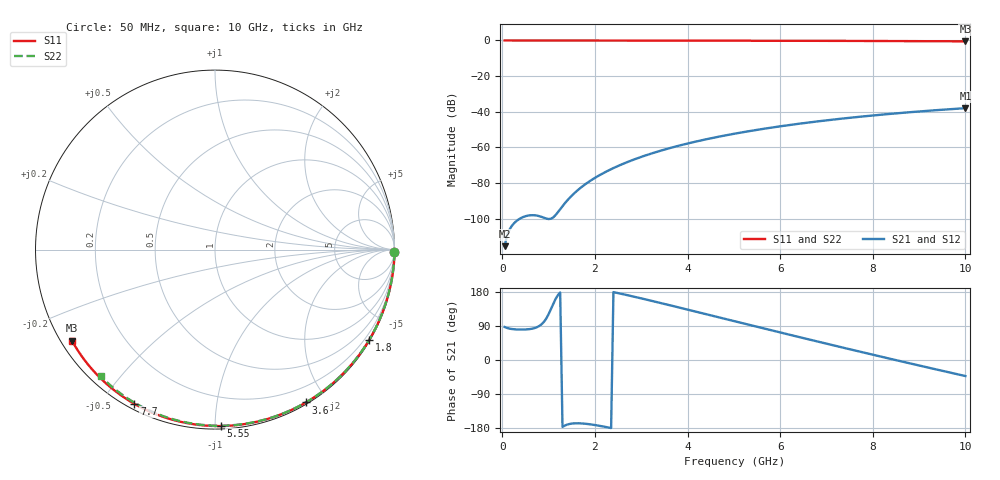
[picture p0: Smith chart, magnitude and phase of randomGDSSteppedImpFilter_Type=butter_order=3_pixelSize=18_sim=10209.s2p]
! freq	dB(S11)	phase(S11)	dB(S12)	phase(S12)
!  dB(S21)	phase(S21)	dB(S22)	phase(S22)
!S-par simulation data
#  GHz  S  DB  R 50
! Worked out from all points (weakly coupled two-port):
!   200 points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, 50 MHz to 10 GHz, reference 50 ohm
!   highest |S21| = -37.96 dB at 10 GHz (marker M1); lowest = -115.3 dB at 50 MHz (marker M2)
!   lowest |S11| = -0.5 dB at 10 GHz (marker M3), VSWR 35.27, Z = 1.54 - j14.5 ohm
!   |S11| at or under -10 dB: nowhere
!   |S22| runs from -0.4 to 0.0 dB; largest |S21 - S12| = 0
!   S11 on the Smith chart (normalised r, x): 50 MHz: open; 1.8 GHz: 0.03, -3.68; 3.6 GHz: 0.02, -1.76; 5.55 GHz: 0.02, -1.03; 7.7 GHz: 0.02, -0.61; 10 GHz: 0.03, -0.29
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0.05  -0.00 -0.9  -115.31 87.1  -115.31 87.1  -0.00 -0.8
0.45  -0.01 -7.7  -98.98 80.3  -98.98 80.3  -0.01 -6.9
0.9  -0.02 -15.4  -99.39 100.8  -99.39 100.8  -0.02 -13.6
1.3  -0.03 -22.1  -92.90 -176.6  -92.90 -176.6  -0.02 -19.6
1.75  -0.04 -29.6  -81.40 -167.7  -81.40 -167.7  -0.03 -26.3
1.8  -0.04 -30.4  -80.44 -168.3  -80.44 -168.3  -0.03 -27.0
1.85  -0.04 -31.2  -79.54 -169.0  -79.54 -169.0  -0.04 -27.8
2.05  -0.04 -34.5  -76.25 -172.6  -76.25 -172.6  -0.04 -30.7
2.2  -0.05 -37.0  -74.11 -175.9  -74.11 -175.9  -0.04 -32.9
2.55  -0.05 -42.7  -69.79 175.2  -69.79 175.2  -0.05 -38.0
2.95  -0.06 -49.1  -65.73 164.1  -65.73 164.1  -0.06 -43.7
3.4  -0.07 -56.2  -61.94 151.0  -61.94 151.0  -0.07 -50.1
3.6  -0.08 -59.3  -60.45 145.0  -60.45 145.0  -0.07 -52.9
4.3  -0.10 -69.9  -55.97 124.0  -55.97 124.0  -0.09 -62.5
5.05  -0.12 -81.0  -52.10 101.3  -52.10 101.3  -0.11 -72.5
5.55  -0.14 -88.2  -49.90 86.2  -49.90 86.2  -0.13 -79.0
6.1  -0.17 -95.9  -47.77 69.7  -47.77 69.7  -0.15 -86.0
6.7  -0.20 -104.2  -45.72 51.9  -45.72 51.9  -0.18 -93.4
7.7  -0.27 -117.6  -42.82 22.6  -42.82 22.6  -0.24 -105.5
8.35  -0.32 -126.1  -41.22 3.9  -41.22 3.9  -0.29 -113.1
9.2  -0.40 -137.2  -39.40 -20.1  -39.40 -20.1  -0.36 -123.0
10  -0.49 -147.6  -37.96 -42.3  -37.96 -42.3  -0.44 -132.1
